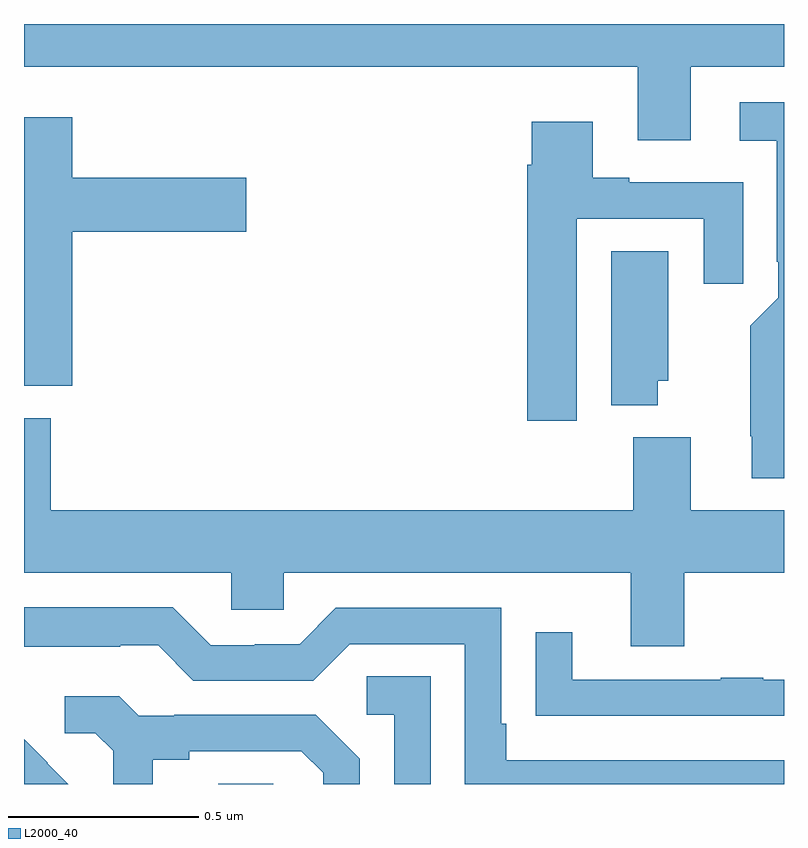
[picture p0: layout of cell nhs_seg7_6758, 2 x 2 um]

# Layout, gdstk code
import gdstk
lib = gdstk.Library(unit=1e-6, precision=1e-09)
def R(c, l, rs):  # rectangles x0, y0, x1, y1
    for r in rs: c.add(gdstk.rectangle(r[:2], r[2:], *l))
def P(c, l, *ps):  # polygons
    for p in ps: c.add(gdstk.Polygon(p, *l))
L2000_40 = (2000, 40)

nhs_seg7_6758 = lib.new_cell('nhs_seg7_6758')
R(nhs_seg7_6758, L2000_40, [(202.511,1060,202.656,1060.001)])
P(nhs_seg7_6758, L2000_40, [(203.755,1061.888),(204,1061.888),(204,1062),(202,1062),(202,1061.888),(203.615,1061.888),(203.615,1061.694),(203.755,1061.694)],
  [(204,1061.794),(203.883,1061.794),(203.883,1061.693),(203.981,1061.693),(203.981,1061.374),(203.985,1061.374),(203.985,1061.28),(203.911,1061.206),(203.911,1060.915),(203.915,1060.915),(203.915,1060.805),(204,1060.805)],
  [(202.127,1061.453),(202.585,1061.453),(202.585,1061.595),(202.127,1061.595),(202.127,1061.755),(202,1061.755),(202,1061.048),(202.127,1061.048)],
  [(203.455,1061.487),(203.789,1061.487),(203.789,1061.316),(203.893,1061.316),(203.893,1061.583),(203.593,1061.583),(203.593,1061.596),(203.497,1061.596),(203.497,1061.743),(203.336,1061.743),(203.336,1061.63),(203.324,1061.63),(203.324,1060.956),(203.455,1060.956)],
  [(203.668,1061.061),(203.695,1061.061),(203.695,1061.402),(203.546,1061.402),(203.546,1060.997),(203.668,1060.997)],
  [(203.737,1060.556),(204,1060.556),(204,1060.72),(203.755,1060.72),(203.755,1060.912),(203.603,1060.912),(203.603,1060.72),(202.07,1060.72),(202.07,1060.963),(202,1060.963),(202,1060.556),(202.545,1060.556),(202.545,1060.458),(202.683,1060.458),(202.683,1060.556),(203.597,1060.556),(203.597,1060.362),(203.737,1060.362)],
  [(204,1060.062),(203.269,1060.062),(203.269,1060.159),(203.256,1060.159),(203.256,1060.464),(202.821,1060.464),(202.725,1060.368),(202.607,1060.368),(202.607,1060.365),(202.491,1060.365),(202.391,1060.465),(202,1060.465),(202,1060.361),(202.253,1060.361),(202.253,1060.365),(202.353,1060.365),(202.446,1060.272),(202.761,1060.272),(202.857,1060.368),(203.16,1060.368),(203.16,1060),(204,1060)],
  [(204,1060.275),(203.945,1060.275),(203.945,1060.28),(203.833,1060.28),(203.833,1060.275),(203.443,1060.275),(203.443,1060.399),(203.347,1060.399),(203.347,1060.18),(203.449,1060.18),(203.449,1060.179),(204,1060.179)],
  [(203.07,1060.283),(202.902,1060.283),(202.902,1060.182),(202.974,1060.182),(202.974,1060),(203.07,1060)],
  [(202.339,1060.064),(202.435,1060.064),(202.435,1060.086),(202.73,1060.086),(202.787,1060.029),(202.787,1060),(202.884,1060),(202.884,1060.066),(202.768,1060.182),(202.396,1060.182),(202.396,1060.179),(202.302,1060.179),(202.25,1060.231),(202.107,1060.231),(202.107,1060.134),(202.188,1060.134),(202.235,1060.087),(202.235,1060),(202.339,1060)],
  [(202.061,1060.055),(202.062,1060.056),(202,1060.118),(202,1060),(202.116,1060)])

lib.write_gds('nhs_seg7_6758.gds')
